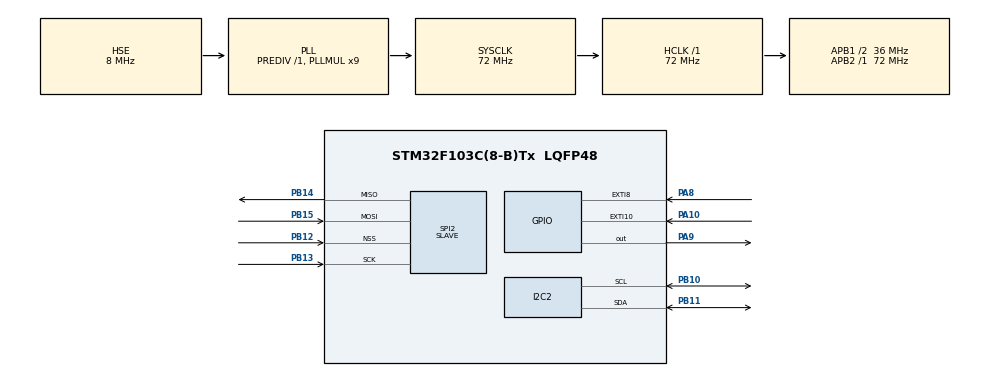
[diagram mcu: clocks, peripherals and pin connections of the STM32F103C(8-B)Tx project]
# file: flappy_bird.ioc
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FREERTOS.HEAP_NUMBER=4
FREERTOS.Mutexes01=BirdPosMutex,Dynamic,NULL,Depleted;PipeQueueMutex,Dynamic,NULL,Depleted;I2CMutex,Dynamic,NULL,Depleted;ScoreMutex,Dynamic,NULL,Available
FREERTOS.Tasks01=JumpButtonTask,40,128,StartJumpButtonTask,Default,NULL,Dynamic,NULL,NULL;GameTask,32,192,StartGameTask,Default,NULL,Dynamic,NULL,NULL;RenderTask,24,384,StartRenderTask,Default,NULL,Dynamic,NULL,NULL;InitTask,16,128,StartInitTask,Default,NULL,Dynamic,NULL,NULL
FREERTOS.configTOTAL_HEAP_SIZE=4608
FREERTOS.configUSE_NEWLIB_REENTRANT=1
I2C2.I2C_Mode=I2C_Fast
Mcu.Family=STM32F1
Mcu.Name=STM32F103C(8-B)Tx
Mcu.Package=LQFP48
NVIC.EXTI15_10_IRQn=true\:5\:0\:false\:false\:true\:true\:true\:true\:true
NVIC.EXTI9_5_IRQn=true\:5\:0\:false\:false\:true\:true\:true\:true\:true
NVIC.PriorityGroup=NVIC_PRIORITYGROUP_4
NVIC.TIM1_UP_IRQn=true\:15\:0\:false\:false\:true\:false\:false\:true\:true
NVIC.TimeBase=TIM1_UP_IRQn
NVIC.TimeBaseIP=TIM1
PA10.GPIO_PuPd=GPIO_PULLDOWN
PA10.Signal=GPXTI10
PA13.Mode=Serial_Wire
PA13.Signal=SYS_JTMS-SWDIO
PA14.Mode=Serial_Wire
PA14.Signal=SYS_JTCK-SWCLK
PA8.GPIO_ModeDefaultEXTI=GPIO_MODE_IT_FALLING
PA8.GPIO_PuPd=GPIO_PULLUP
PA8.Signal=GPXTI8
PA9.Signal=GPIO_Output
PB10.Mode=I2C
PB10.Signal=I2C2_SCL
PB11.Mode=I2C
PB11.Signal=I2C2_SDA
PB12.Mode=NSS_Signal_Hard_Input
PB12.Signal=SPI2_NSS
PB13.Mode=Full_Duplex_Slave
PB13.Signal=SPI2_SCK
PB14.Mode=Full_Duplex_Slave
PB14.Signal=SPI2_MISO
PB15.Mode=Full_Duplex_Slave
PB15.Signal=SPI2_MOSI
PD0-OSC_IN.Mode=HSE-External-Oscillator
PD0-OSC_IN.Signal=RCC_OSC_IN
PD1-OSC_OUT.Mode=HSE-External-Oscillator
PD1-OSC_OUT.Signal=RCC_OSC_OUT
ProjectManager.HeapSize=0x200
ProjectManager.StackSize=0x400
ProjectManager.TargetToolchain=STM32CubeIDE
RCC.AHBFreq_Value=72000000
RCC.APB1CLKDivider=RCC_HCLK_DIV2
RCC.APB1Freq_Value=36000000
RCC.APB1TimFreq_Value=72000000
RCC.APB2Freq_Value=72000000
RCC.APB2TimFreq_Value=72000000
RCC.HCLKFreq_Value=72000000
RCC.PLLMUL=RCC_PLL_MUL9
RCC.PLLSourceVirtual=RCC_PLLSOURCE_HSE
RCC.SYSCLKFreq_VALUE=72000000
RCC.SYSCLKSource=RCC_SYSCLKSOURCE_PLLCLK
RCC.USBFreq_Value=72000000
SPI2.Direction=SPI_DIRECTION_2LINES
SPI2.Mode=SPI_MODE_SLAVE
SPI2.VirtualNSS=VM_NSSHARD
SPI2.VirtualType=VM_SLAVE
VP_FREERTOS_VS_CMSIS_V2.Mode=CMSIS_V2
VP_SYS_VS_tim1.Mode=TIM1
board=custom

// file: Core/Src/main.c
/* USER CODE BEGIN Header */
/**
 ******************************************************************************
 * @file           : main.c
 * @brief          : Main program body
 ******************************************************************************
 * @attention
 *
 * Copyright (c) 2025 STMicroelectronics.
 * All rights reserved.
 *
 * This software is licensed under terms that can be found in the LICENSE file
 * in the root directory of this software component.
 * If no LICENSE file comes with this software, it is provided AS-IS.
 *
 ******************************************************************************
 */
/* USER CODE END Header */
#include "main.h"
#include "cmsis_os.h"

/* USER CODE BEGIN Includes */

#include <stdbool.h>

#include "bird.h"
#include "bmp280.h"
#include "comms.h"
#include "oled.h"
#include "pipe_queue.h"

/* USER CODE END Includes */

/* USER CODE BEGIN PD */

#define GPIO_PORT GPIOA
#define JUMP_BUTTON_PIN GPIO_PIN_8
#define SEND_READY_PIN GPIO_PIN_9
#define PI_ACK_PIN GPIO_PIN_10

#define FLAG_JUMP_PRESS 0x01
#define FLAG_PI_ACK 0x01
#define ACK_TIMEOUT pdMS_TO_TICKS(250)

#define DEBOUNCE_DELAY 50

/* USER CODE END PD */

I2C_HandleTypeDef hi2c2;

SPI_HandleTypeDef hspi2;

/* Definitions for JumpButtonTask */
osThreadId_t JumpButtonTaskHandle;
const osThreadAttr_t JumpButtonTask_attributes = { .name = "JumpButtonTask",
    .stack_size = 128 * 4, .priority = (osPriority_t) osPriorityHigh, };
/* Definitions for GameTask */
osThreadId_t GameTaskHandle;
const osThreadAttr_t GameTask_attributes = { .name = "GameTask", .stack_size =
    192 * 4, .priority = (osPriority_t) osPriorityAboveNormal, };
/* Definitions for RenderTask */
osThreadId_t RenderTaskHandle;
const osThreadAttr_t RenderTask_attributes = { .name = "RenderTask",
    .stack_size = 384 * 4, .priority = (osPriority_t) osPriorityNormal, };
/* Definitions for InitTask */
osThreadId_t InitTaskHandle;
const osThreadAttr_t InitTask_attributes = { .name = "InitTask", .stack_size =
    128 * 4, .priority = (osPriority_t) osPriorityBelowNormal, };
/* Definitions for BirdPosMutex */
osMutexId_t BirdPosMutexHandle;
const osMutexAttr_t BirdPosMutex_attributes = { .name = "BirdPosMutex" };
/* Definitions for PipeQueueMutex */
osMutexId_t PipeQueueMutexHandle;
const osMutexAttr_t PipeQueueMutex_attributes = { .name = "PipeQueueMutex" };
/* Definitions for I2CMutex */
osMutexId_t I2CMutexHandle;
const osMutexAttr_t I2CMutex_attributes = { .name = "I2CMutex" };
/* Definitions for ScoreMutex */
osMutexId_t ScoreMutexHandle;
const osMutexAttr_t ScoreMutex_attributes = { .name = "ScoreMutex" };
/* USER CODE BEGIN PV */

volatile bool init_done = false;
volatile bool game_paused = false;
volatile bool last_frame = false;
volatile bool tried_data_send = false;
volatile int pause_time = 0;
int score = 0;

/* USER CODE END PV */

void SystemClock_Config(void);
static void MX_GPIO_Init(void);
static void MX_SPI2_Init(void);
static void MX_I2C2_Init(void);
void StartJumpButtonTask(void *argument);
void StartGameTask(void *argument);
void StartRenderTask(void *argument);
void StartInitTask(void *argument);

/* USER CODE BEGIN 0 */

void reset_game(void) {
  osMutexAcquire(ScoreMutexHandle, osWaitForever);
  score = 0;
  osMutexRelease(ScoreMutexHandle);

  last_frame = false;
  tried_data_send = false;
  oled_set_checkmark_state(false);

  bird_reset_pos();
  bird_reset_vel();

  pq_clear();
  pq_enqueue();
}

/* USER CODE END 0 */

int main(void) {

  /* MCU Configuration--------------------------------------------------------*/

  /* Reset of all peripherals, Initializes the Flash interface and the Systick. */
  HAL_Init();

  /* Configure the system clock */
  SystemClock_Config();

  /* Initialize all configured peripherals */
  MX_GPIO_Init();
  MX_SPI2_Init();
  MX_I2C2_Init();
  /* USER CODE BEGIN 2 */

  pq_init();
  pq_enqueue();

  /* USER CODE END 2 */

  /* Init scheduler */
  osKernelInitialize();
  /* Create the mutex(es) */
  /* creation of BirdPosMutex */
  BirdPosMutexHandle = osMutexNew(&BirdPosMutex_attributes);

  /* creation of PipeQueueMutex */
  PipeQueueMutexHandle = osMutexNew(&PipeQueueMutex_attributes);

  /* creation of I2CMutex */
  I2CMutexHandle = osMutexNew(&I2CMutex_attributes);

  /* creation of ScoreMutex */
  ScoreMutexHandle = osMutexNew(&ScoreMutex_attributes);

  /* Create the thread(s) */
  /* creation of JumpButtonTask */
  JumpButtonTaskHandle = osThreadNew(StartJumpButtonTask, NULL,
      &JumpButtonTask_attributes);

  /* creation of GameTask */
  GameTaskHandle = osThreadNew(StartGameTask, NULL, &GameTask_attributes);

  /* creation of RenderTask */
  RenderTaskHandle = osThreadNew(StartRenderTask, NULL, &RenderTask_attributes);

  /* creation of InitTask */
  InitTaskHandle = osThreadNew(StartInitTask, NULL, &InitTask_attributes);

  /* Start scheduler */
  osKernelStart();

  /* We should never get here as control is now taken by the scheduler */

  /* Infinite loop */
  while (1) {

  }
}

void SystemClock_Config(void) {
  RCC_OscInitTypeDef RCC_OscInitStruct = { 0 };
  RCC_ClkInitTypeDef RCC_ClkInitStruct = { 0 };

  /** Initializes the RCC Oscillators according to the specified parameters
   * in the RCC_OscInitTypeDef structure.
   */
  RCC_OscInitStruct.OscillatorType = RCC_OSCILLATORTYPE_HSE;
  RCC_OscInitStruct.HSEState = RCC_HSE_ON;
  RCC_OscInitStruct.HSEPredivValue = RCC_HSE_PREDIV_DIV1;
  RCC_OscInitStruct.HSIState = RCC_HSI_ON;
  RCC_OscInitStruct.PLL.PLLState = RCC_PLL_ON;
  RCC_OscInitStruct.PLL.PLLSource = RCC_PLLSOURCE_HSE;
  RCC_OscInitStruct.PLL.PLLMUL = RCC_PLL_MUL9;
  if (HAL_RCC_OscConfig(&RCC_OscInitStruct) != HAL_OK) {
    Error_Handler();
  }

  /** Initializes the CPU, AHB and APB buses clocks
   */
  RCC_ClkInitStruct.ClockType = RCC_CLOCKTYPE_HCLK | RCC_CLOCKTYPE_SYSCLK
      | RCC_CLOCKTYPE_PCLK1 | RCC_CLOCKTYPE_PCLK2;
  RCC_ClkInitStruct.SYSCLKSource = RCC_SYSCLKSOURCE_PLLCLK;
  RCC_ClkInitStruct.AHBCLKDivider = RCC_SYSCLK_DIV1;
  RCC_ClkInitStruct.APB1CLKDivider = RCC_HCLK_DIV2;
  RCC_ClkInitStruct.APB2CLKDivider = RCC_HCLK_DIV1;

  if (HAL_RCC_ClockConfig(&RCC_ClkInitStruct, FLASH_LATENCY_2) != HAL_OK) {
    Error_Handler();
  }
}

static void MX_I2C2_Init(void) {

  hi2c2.Instance = I2C2;
  hi2c2.Init.ClockSpeed = 400000;
  hi2c2.Init.DutyCycle = I2C_DUTYCYCLE_2;
  hi2c2.Init.OwnAddress1 = 0;
  hi2c2.Init.AddressingMode = I2C_ADDRESSINGMODE_7BIT;
  hi2c2.Init.DualAddressMode = I2C_DUALADDRESS_DISABLE;
  hi2c2.Init.OwnAddress2 = 0;
  hi2c2.Init.GeneralCallMode = I2C_GENERALCALL_DISABLE;
  hi2c2.Init.NoStretchMode = I2C_NOSTRETCH_DISABLE;
  if (HAL_I2C_Init(&hi2c2) != HAL_OK) {
    Error_Handler();
  }

}

static void MX_SPI2_Init(void) {

  /* SPI2 parameter configuration*/
  hspi2.Instance = SPI2;
  hspi2.Init.Mode = SPI_MODE_SLAVE;
  hspi2.Init.Direction = SPI_DIRECTION_2LINES;
  hspi2.Init.DataSize = SPI_DATASIZE_8BIT;
  hspi2.Init.CLKPolarity = SPI_POLARITY_LOW;
  hspi2.Init.CLKPhase = SPI_PHASE_1EDGE;
  hspi2.Init.NSS = SPI_NSS_HARD_INPUT;
  hspi2.Init.FirstBit = SPI_FIRSTBIT_MSB;
  hspi2.Init.TIMode = SPI_TIMODE_DISABLE;
  hspi2.Init.CRCCalculation = SPI_CRCCALCULATION_DISABLE;
  hspi2.Init.CRCPolynomial = 10;
  if (HAL_SPI_Init(&hspi2) != HAL_OK) {
    Error_Handler();
  }

}

static void MX_GPIO_Init(void) {
  GPIO_InitTypeDef GPIO_InitStruct = { 0 };

  /* GPIO Ports Clock Enable */
  __HAL_RCC_GPIOD_CLK_ENABLE();
  __HAL_RCC_GPIOB_CLK_ENABLE();
  __HAL_RCC_GPIOA_CLK_ENABLE();

  /*Configure GPIO pin Output Level */
  HAL_GPIO_WritePin(GPIOA, GPIO_PIN_9, GPIO_PIN_RESET);

  /*Configure GPIO pin : PA8 */
  GPIO_InitStruct.Pin = GPIO_PIN_8;
  GPIO_InitStruct.Mode = GPIO_MODE_IT_FALLING;
  GPIO_InitStruct.Pull = GPIO_PULLUP;
  HAL_GPIO_Init(GPIOA, &GPIO_InitStruct);

  /*Configure GPIO pin : PA9 */
  GPIO_InitStruct.Pin = GPIO_PIN_9;
  GPIO_InitStruct.Mode = GPIO_MODE_OUTPUT_PP;
  GPIO_InitStruct.Pull = GPIO_NOPULL;
  GPIO_InitStruct.Speed = GPIO_SPEED_FREQ_LOW;
  HAL_GPIO_Init(GPIOA, &GPIO_InitStruct);

  /*Configure GPIO pin : PA10 */
  GPIO_InitStruct.Pin = GPIO_PIN_10;
  GPIO_InitStruct.Mode = GPIO_MODE_IT_RISING;
  GPIO_InitStruct.Pull = GPIO_PULLDOWN;
  HAL_GPIO_Init(GPIOA, &GPIO_InitStruct);

  /* EXTI interrupt init*/
  HAL_NVIC_SetPriority(EXTI9_5_IRQn, 5, 0);
  HAL_NVIC_EnableIRQ(EXTI9_5_IRQn);

  HAL_NVIC_SetPriority(EXTI15_10_IRQn, 5, 0);
  HAL_NVIC_EnableIRQ(EXTI15_10_IRQn);

}

/* USER CODE BEGIN 4 */

void HAL_GPIO_EXTI_Callback(uint16_t GPIO_Pin) {
  if (GPIO_Pin == JUMP_BUTTON_PIN) {
    osThreadFlagsSet(JumpButtonTaskHandle, FLAG_JUMP_PRESS);
  } else if (GPIO_Pin == PI_ACK_PIN) {
    osThreadFlagsSet(RenderTaskHandle, FLAG_PI_ACK);
  }
}

/* USER CODE END 4 */

void StartJumpButtonTask(void *argument) {
  /* USER CODE BEGIN 5 */

  while (!init_done) {
    osDelay(1);
  }

  /* Infinite loop */
  for (;;) {
    osThreadFlagsWait(FLAG_JUMP_PRESS, osFlagsWaitAny, osWaitForever);

    if (HAL_GPIO_ReadPin(GPIO_PORT, JUMP_BUTTON_PIN) == GPIO_PIN_RESET) {
      if (!game_paused) {
        bird_reset_vel();
      } else if ((HAL_GetTick() - pause_time) > 300) {
        reset_game();
        game_paused = false;
      }

      while (HAL_GPIO_ReadPin(GPIO_PORT, JUMP_BUTTON_PIN) == GPIO_PIN_RESET) {
        osDelay(1);
      }

      osDelay(DEBOUNCE_DELAY);
    }
  }

  /* USER CODE END 5 */
}

void StartGameTask(void *argument) {
  /* USER CODE BEGIN StartGameTask */

  while (!init_done) {
    osDelay(1);
  }

  TickType_t last_wake = xTaskGetTickCount();

  /* Infinite loop */
  for (;;) {
    if (!game_paused) {
      osMutexAcquire(BirdPosMutexHandle, osWaitForever);
      osMutexAcquire(PipeQueueMutexHandle, osWaitForever);

      bird_update();
      pq_update();

      if (pq_scored(BIRD_POS_X)) {
        osMutexAcquire(ScoreMutexHandle, osWaitForever);
        score++;
        osMutexRelease(ScoreMutexHandle);
      }

      if (pq_collision(BIRD_POS_X, bird_get_y(), BIRD_W, BIRD_H)
          || (bird_get_y() + BIRD_H > OLED_H - 1)) {

        game_paused = true;
        pause_time = HAL_GetTick();
      }

      osMutexRelease(PipeQueueMutexHandle);
      osMutexRelease(BirdPosMutexHandle);
    }

    vTaskDelayUntil(&last_wake, pdMS_TO_TICKS(10));
  }

  /* USER CODE END StartGameTask */
}

void StartRenderTask(void *argument) {
  /* USER CODE BEGIN StartRenderTask */

  while (!init_done) {
    osDelay(1);
  }

  TickType_t last_wake = xTaskGetTickCount();

  /* Infinite loop */
  for (;;) {
    // uint32_t render_start = HAL_GetTick();

    if (game_paused && !last_frame) {
      last_frame = true;
    }

    fb_clear();

    osMutexAcquire(BirdPosMutexHandle, osWaitForever);
    osMutexAcquire(PipeQueueMutexHandle, osWaitForever);

    bird_draw();
    pq_draw();

    osMutexRelease(PipeQueueMutexHandle);
    osMutexRelease(BirdPosMutexHandle);

    fb_draw_floor();

    osMutexAcquire(ScoreMutexHandle, osWaitForever);
    fb_draw_score(score);
    osMutexRelease(ScoreMutexHandle);

    oled_flush_fb(&hi2c2, I2CMutexHandle);

    if (last_frame && !tried_data_send) {
      osMutexAcquire(ScoreMutexHandle, osWaitForever);
      int16_t data_score = (int16_t) score;
      osMutexRelease(ScoreMutexHandle);

      int16_t data_temp = (int16_t) bmp280_get_temp(&hi2c2, I2CMutexHandle);

      comms_send_data(&hspi2, data_score, data_temp, GPIO_PORT, SEND_READY_PIN);

      tried_data_send = true;

      int32_t res = osThreadFlagsWait(FLAG_PI_ACK, osFlagsWaitAny, ACK_TIMEOUT);
      if (res != osFlagsErrorTimeout) {
        oled_set_checkmark_state(true);
      }
    }

    // uint32_t render_time = HAL_GetTick() - render_start;

    vTaskDelayUntil(&last_wake, pdMS_TO_TICKS(37));
  }

  /* USER CODE END StartRenderTask */
}

void StartInitTask(void *argument) {
  /* USER CODE BEGIN StartInitTask */

  bmp280_calib(&hi2c2, I2CMutexHandle);

  oled_init(&hi2c2, I2CMutexHandle);

  oled_flush_fb(&hi2c2, I2CMutexHandle);

  init_done = true;
  osThreadExit();

  /* USER CODE END StartInitTask */
}

void HAL_TIM_PeriodElapsedCallback(TIM_HandleTypeDef *htim) {
  if (htim->Instance == TIM1) {
    HAL_IncTick();
  }
}

void Error_Handler(void) {
  __disable_irq();
  while (1) {
  }
}
